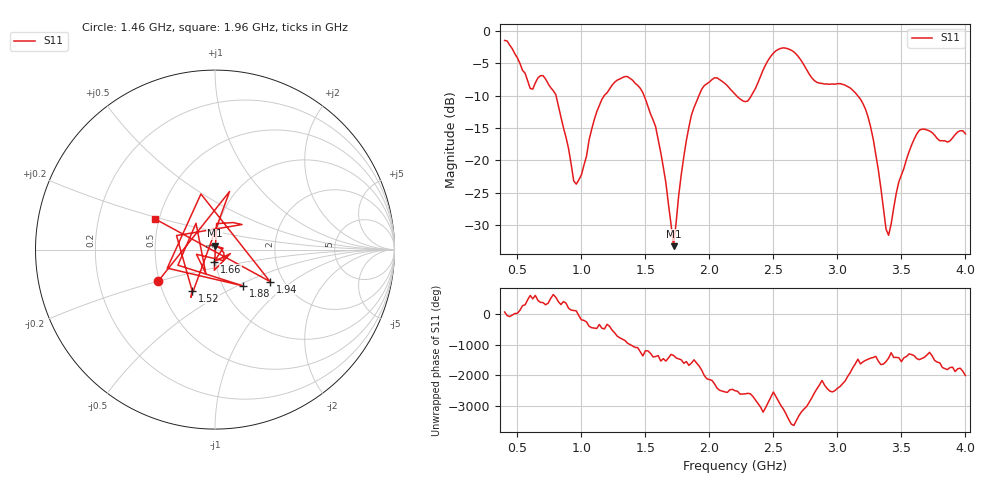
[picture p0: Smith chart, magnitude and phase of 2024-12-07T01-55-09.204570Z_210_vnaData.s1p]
!Created with skrf (http://scikit-rf.org).
# Hz S RI R 50.0
!freq ReS11 ImS11
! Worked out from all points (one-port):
!   181 points, 400 MHz to 4 GHz, reference 50 ohm
!   lowest |S11| = -33.2 dB at 1.72 GHz (marker M1), VSWR 1.04, Z = 49.9 + j2.17 ohm
!   |S11| at or under -10 dB: 801.8 MHz to 1.178 GHz (376.6 MHz wide, 38 % of centre); 1.489 GHz to 1.918 GHz (428.7 MHz wide, 25.2 % of centre); 3.158 GHz to end of sweep (the widest 3 of 4)
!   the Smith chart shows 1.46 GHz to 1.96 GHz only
!   S11 on the Smith chart (normalised r, x): 1.46 GHz: 0.49, -0.20; 1.52 GHz: 0.70, -0.34; 1.66 GHz: 0.98, -0.13; 1.88 GHz: 1.24, -0.54; 1.94 GHz: 1.71, -0.69; 1.96 GHz: 0.47, +0.19
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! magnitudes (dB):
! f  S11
! 400 MHz  -1.5
! 600 MHz  -8.9
! 720 MHz  -7.4
! 800 MHz  -9.8
! 860 MHz  -15.0
! 960 MHz  -23.7
! 1.14 GHz  -11.5
! 1.3 GHz  -7.4
! 1.46 GHz  -8.9
! 1.52 GHz  -11.7
! 1.58 GHz  -14.8
! 1.66 GHz  -23.5
! 1.72 GHz  -33.2
! 1.76 GHz  -25.4
! 1.88 GHz  -11.8
! 1.94 GHz  -9.0
! 1.96 GHz  -8.5
! 2.2 GHz  -9.8
! 2.3 GHz  -10.8
! 2.5 GHz  -3.5
! 2.66 GHz  -3.2
! 2.84 GHz  -8.0
! 3.1 GHz  -8.8
! 3.24 GHz  -13.3
! 3.4 GHz  -31.6
! 3.56 GHz  -18.7
! 3.66 GHz  -15.2
! 4 GHz  -15.9
